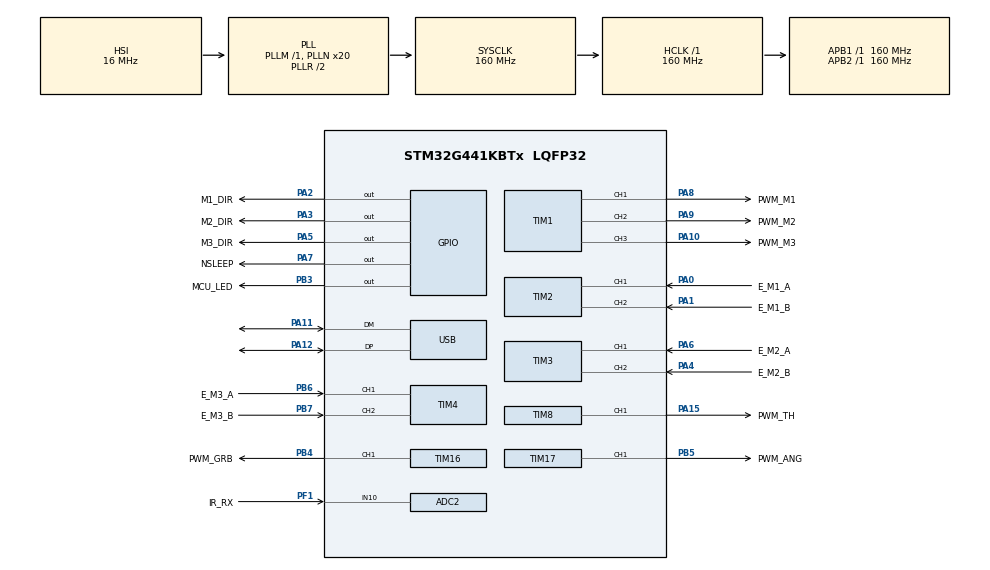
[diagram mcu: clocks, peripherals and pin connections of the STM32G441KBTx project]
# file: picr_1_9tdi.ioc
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ADC2.Channel-0\#ChannelRegularConversion=ADC_CHANNEL_10
ADC2.NbrOfConversionFlag=1
ADC2.OffsetNumber-0\#ChannelRegularConversion=ADC_OFFSET_NONE
ADC2.Rank-0\#ChannelRegularConversion=1
ADC2.SamplingTime-0\#ChannelRegularConversion=ADC_SAMPLETIME_2CYCLES_5
Mcu.Family=STM32G4
Mcu.Name=STM32G441KBTx
Mcu.Package=LQFP32
NVIC.PriorityGroup=NVIC_PRIORITYGROUP_4
NVIC.TIM6_DAC_IRQn=true\:0\:0\:false\:false\:true\:true\:true\:true
NVIC.USB_LP_IRQn=true\:0\:0\:false\:false\:true\:false\:true\:true
PA0.GPIO_Label=E_M1_A
PA0.Signal=S_TIM2_CH1
PA1.GPIO_Label=E_M1_B
PA1.Signal=S_TIM2_CH2
PA10.GPIO_Label=PWM_M3
PA10.Signal=S_TIM1_CH3
PA11.Mode=Device
PA11.Signal=USB_DM
PA12.Mode=Device
PA12.Signal=USB_DP
PA13.Mode=Serial_Wire
PA13.Signal=SYS_JTMS-SWDIO
PA14.Mode=Serial_Wire
PA14.Signal=SYS_JTCK-SWCLK
PA15.GPIO_Label=PWM_TH
PA15.Signal=S_TIM8_CH1
PA2.GPIO_Label=M1_DIR
PA2.Signal=GPIO_Output
PA3.GPIO_Label=M2_DIR
PA3.Signal=GPIO_Output
PA4.GPIO_Label=E_M2_B
PA4.Signal=S_TIM3_CH2
PA5.GPIO_Label=M3_DIR
PA5.Signal=GPIO_Output
PA6.GPIO_Label=E_M2_A
PA6.Signal=S_TIM3_CH1
PA7.GPIO_Label=NSLEEP
PA7.Signal=GPIO_Output
PA8.GPIO_Label=PWM_M1
PA8.Signal=S_TIM1_CH1
PA9.GPIO_Label=PWM_M2
PA9.Signal=S_TIM1_CH2
PB3.GPIO_Label=MCU_LED
PB3.Signal=GPIO_Output
PB4.GPIO_Label=PWM_GRB
PB4.Signal=S_TIM16_CH1
PB5.GPIO_Label=PWM_ANG
PB5.Signal=S_TIM17_CH1
PB6.GPIO_Label=E_M3_A
PB6.Signal=S_TIM4_CH1
PB7.GPIO_Label=E_M3_B
PB7.Signal=S_TIM4_CH2
PF1-OSC_OUT.GPIO_Label=IR_RX
PF1-OSC_OUT.Mode=IN10-Single-Ended
PF1-OSC_OUT.Signal=ADC2_IN10
ProjectManager.HeapSize=0x200
ProjectManager.StackSize=0x400
ProjectManager.TargetToolchain=STM32CubeIDE
RCC.ADC12Freq_Value=160000000
RCC.AHBFreq_Value=160000000
RCC.APB1Freq_Value=160000000
RCC.APB1TimFreq_Value=160000000
RCC.APB2Freq_Value=160000000
RCC.APB2TimFreq_Value=160000000
RCC.CK48CLockSelection=RCC_USBCLKSOURCE_HSI48
RCC.CortexFreq_Value=160000000
RCC.EXTERNAL_CLOCK_VALUE=12288000
RCC.HCLKFreq_Value=160000000
RCC.HSE_VALUE=8000000
RCC.HSI48_VALUE=48000000
RCC.HSI_VALUE=16000000
RCC.LSE_VALUE=32768
RCC.PLLN=20
RCC.PLLQ=RCC_PLLQ_DIV4
RCC.SYSCLKFreq_VALUE=160000000
RCC.SYSCLKSource=RCC_SYSCLKSOURCE_PLLCLK
RCC.USBFreq_Value=48000000
RCC.VCOOutputFreq_Value=320000000
SH.S_TIM16_CH1.0=TIM16_CH1,PWM Generation1 CH1
SH.S_TIM17_CH1.0=TIM17_CH1,PWM Generation1 CH1
SH.S_TIM1_CH1.0=TIM1_CH1,PWM Generation1 CH1
SH.S_TIM1_CH2.0=TIM1_CH2,PWM Generation2 CH2
SH.S_TIM1_CH3.0=TIM1_CH3,PWM Generation3 CH3
SH.S_TIM2_CH1.0=TIM2_CH1,Encoder_Interface
SH.S_TIM2_CH2.0=TIM2_CH2,Encoder_Interface
SH.S_TIM3_CH1.0=TIM3_CH1,Encoder_Interface
SH.S_TIM3_CH2.0=TIM3_CH2,Encoder_Interface
SH.S_TIM4_CH1.0=TIM4_CH1,Encoder_Interface
SH.S_TIM4_CH2.0=TIM4_CH2,Encoder_Interface
SH.S_TIM8_CH1.0=TIM8_CH1,PWM Generation1 CH1
TIM1.Channel-PWM\ Generation1\ CH1=TIM_CHANNEL_1
TIM1.Channel-PWM\ Generation2\ CH2=TIM_CHANNEL_2
TIM1.Channel-PWM\ Generation3\ CH3=TIM_CHANNEL_3
TIM16.Channel=TIM_CHANNEL_1
TIM16.PeriodNoDither=65305
TIM16.Prescaler=48
TIM17.Channel=TIM_CHANNEL_1
TIM17.PeriodNoDither=65305
TIM17.Prescaler=48
TIM2.EncoderMode=TIM_ENCODERMODE_TI12
TIM3.EncoderMode=TIM_ENCODERMODE_TI12
TIM4.EncoderMode=TIM_ENCODERMODE_TI12
TIM6.PeriodNoDither=63999
TIM6.Prescaler=24
TIM8.Channel-PWM\ Generation1\ CH1=TIM_CHANNEL_1
TIM8.PeriodNoDither=65305
TIM8.Prescaler=48
USB_DEVICE.CLASS_NAME_FS=CDC
USB_DEVICE.VirtualMode=Cdc
USB_DEVICE.VirtualModeFS=Cdc_FS
VP_SYS_VS_DBSignals.Mode=DisableDeadBatterySignals
VP_TIM16_VS_ClockSourceINT.Mode=Enable_Timer
VP_TIM17_VS_ClockSourceINT.Mode=Enable_Timer
VP_TIM6_VS_ClockSourceINT.Mode=Enable_Timer
VP_USB_DEVICE_VS_USB_DEVICE_CDC_FS.Mode=CDC_FS
board=custom

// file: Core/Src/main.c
/* USER CODE BEGIN Header */
/**
  ******************************************************************************
  * @file           : main.c
  * @brief          : Main program body
  ******************************************************************************
  * @attention
  *
  * Copyright (c) 2025 STMicroelectronics.
  * All rights reserved.
  *
  * This software is licensed under terms that can be found in the LICENSE file
  * in the root directory of this software component.
  * If no LICENSE file comes with this software, it is provided AS-IS.
  *
  ******************************************************************************
  */
/* USER CODE END Header */
#include "main.h"
#include "usb_device.h"

/* USER CODE BEGIN Includes */
#include "usbd_cdc_if.h"
/* USER CODE END Includes */

ADC_HandleTypeDef hadc2;

TIM_HandleTypeDef htim1;
TIM_HandleTypeDef htim2;
TIM_HandleTypeDef htim3;
TIM_HandleTypeDef htim4;
TIM_HandleTypeDef htim6;
TIM_HandleTypeDef htim8;
TIM_HandleTypeDef htim16;
TIM_HandleTypeDef htim17;

void SystemClock_Config(void);
static void MX_GPIO_Init(void);
static void MX_ADC2_Init(void);
static void MX_TIM1_Init(void);
static void MX_TIM2_Init(void);
static void MX_TIM3_Init(void);
static void MX_TIM4_Init(void);
static void MX_TIM6_Init(void);
static void MX_TIM8_Init(void);
static void MX_TIM16_Init(void);
static void MX_TIM17_Init(void);

/* USER CODE BEGIN 0 */
typedef struct Command{
  int16_t speed1;
  int16_t speed2;
  int16_t speed3;
  uint16_t throwerSpeed;
  uint16_t delimiter;
} Command;

Command command = {
    .speed1 = 0,
    .speed2 = 0,
    .speed3 = 0,
    .throwerSpeed = 0,
    .delimiter = 0
};
typedef struct Feedback {
  int16_t speed1;
  int16_t speed2;
  int16_t speed3;
  uint16_t delimiter;
} Feedback;

Feedback feedback = { .speed1 = 0, .speed2 = 0, .speed3 = 0, .delimiter = 0xAAAA};

typedef struct MotorControl {
	int32_t dCount;
	uint32_t prevCount;
	uint32_t currentCount;
	int32_t integral;
} MotorControl;

MotorControl motor1 = {.dCount = 0, .prevCount = 0, .currentCount=0,.integral=0};
MotorControl motor2 = {.dCount = 0, .prevCount = 0, .currentCount=0,.integral=0};
MotorControl motor3 = {.dCount = 0, .prevCount = 0, .currentCount=0,.integral=0};

volatile uint8_t isCommandReceived = 0;

void CDC_On_Receive(uint8_t* buffer, uint32_t* length) {
  if (*length == sizeof(Command)) {
    memcpy(&command, buffer, sizeof(Command));

    if (command.delimiter == 0xAAAA) {
      isCommandReceived = 1;
    }
  }
}
static inline void DWT_Init(void)
{
    CoreDebug->DEMCR |= CoreDebug_DEMCR_TRCENA_Msk;
    DWT->CYCCNT = 0;
    DWT->CTRL |= DWT_CTRL_CYCCNTENA_Msk;
}

static inline void delay_us(uint32_t us)
{
    uint32_t start = DWT->CYCCNT;
    uint32_t cycles = us * 160;
    while ((DWT->CYCCNT - start) < cycles);
}

uint16_t mapThrower(uint16_t inputValue) {

	if (inputValue <= 48)  inputValue = 48;
	if (inputValue >= 2047) inputValue = 2047;

	return(uint16_t)(((uint32_t)(inputValue - 48) * 65305U) / (2047U - 48U));

}
void enable_drivers() {
		HAL_GPIO_WritePin(NSLEEP_GPIO_Port, NSLEEP_Pin, GPIO_PIN_RESET);
	    delay_us(15);
	    HAL_GPIO_WritePin(NSLEEP_GPIO_Port, NSLEEP_Pin, GPIO_PIN_SET);
	    HAL_Delay(5);
}
int32_t clamp(int32_t value, int32_t min_value, int32_t max_value) {
	if (value > max_value) return max_value;
	if (value < min_value) return min_value;
	return value;
}

void rapidBlink() {
    for (uint8_t i = 0; i < 11; i++) {
        HAL_GPIO_TogglePin(MCU_LED_GPIO_Port, MCU_LED_Pin);
        HAL_Delay(100);
    }
}

int32_t setMotor(MotorControl* motorControl, int16_t commandCount) {
	static float kp = 450.0f;
	static float ki = 50.0f;

	motorControl->dCount = motorControl->currentCount - motorControl->prevCount;
	motorControl->prevCount = motorControl->currentCount;

	int32_t error = (int32_t)commandCount - (int32_t)motorControl->dCount;

	float prop = kp*(float)error;
	motorControl->integral += (float)error;

	float output = prop + ((float)motorControl->integral*ki);

	output = clamp((int32_t)output,-7999,7999);

	return (int32_t)output;

}

void runMotor(int32_t pwm, volatile uint32_t *ccr, GPIO_TypeDef *dirPort,
	 uint16_t dirPin) {

	if (pwm >= 0) {
		*ccr = pwm;
		HAL_GPIO_WritePin(dirPort, dirPin, GPIO_PIN_SET);
	} else {
		*ccr = -pwm;
		HAL_GPIO_WritePin(dirPort, dirPin, GPIO_PIN_RESET);
	}
}
void HAL_TIM_PeriodElapsedCallback(TIM_HandleTypeDef *htim) {

	if (htim == &htim6) {

		motor1.currentCount = (int16_t)TIM2->CNT;
		motor2.currentCount = (int16_t)TIM3->CNT;
		motor3.currentCount = (int16_t)TIM4->CNT;

	    runMotor(setMotor(&motor1, command.speed1),&TIM1->CCR1,M1_DIR_GPIO_Port,M1_DIR_Pin);
	    runMotor(setMotor(&motor2, command.speed2),&TIM1->CCR2,M2_DIR_GPIO_Port,M2_DIR_Pin);
	    runMotor(setMotor(&motor3, command.speed3),&TIM1->CCR3,M3_DIR_GPIO_Port,M3_DIR_Pin);

	}
}

/* USER CODE END 0 */

int main(void)
{

  /* MCU Configuration--------------------------------------------------------*/

  /* Reset of all peripherals, Initializes the Flash interface and the Systick. */
  HAL_Init();

  /* Configure the system clock */
  SystemClock_Config();

  /* Initialize all configured peripherals */
  MX_GPIO_Init();
  MX_USB_Device_Init();
  MX_ADC2_Init();
  MX_TIM1_Init();
  MX_TIM2_Init();
  MX_TIM3_Init();
  MX_TIM4_Init();
  MX_TIM6_Init();
  MX_TIM8_Init();
  MX_TIM16_Init();
  MX_TIM17_Init();
  /* USER CODE BEGIN 2 */
  DWT_Init();

  HAL_GPIO_WritePin(NSLEEP_GPIO_Port, NSLEEP_Pin, GPIO_PIN_SET);
  HAL_Delay(100);

  HAL_TIM_Encoder_Start(&htim2, TIM_CHANNEL_1 | TIM_CHANNEL_2);
  HAL_TIM_Encoder_Start(&htim3, TIM_CHANNEL_1 | TIM_CHANNEL_2);
  HAL_TIM_Encoder_Start(&htim4, TIM_CHANNEL_1 | TIM_CHANNEL_2);

  HAL_TIM_Base_Start_IT(&htim6);

  enable_drivers();

  HAL_TIM_PWM_Start(&htim16, TIM_CHANNEL_1);
  HAL_TIM_PWM_Start(&htim1, TIM_CHANNEL_1);
  HAL_TIM_PWM_Start(&htim1, TIM_CHANNEL_2);
  HAL_TIM_PWM_Start(&htim1, TIM_CHANNEL_3);
  HAL_TIM_PWM_Start(&htim8, TIM_CHANNEL_1);

  TIM8->CCR1 = 3000; // Allows ESC to initiate

  rapidBlink();

  /* USER CODE END 2 */

  /* Infinite loop */
  while (1)
  {

	if (isCommandReceived) {
		isCommandReceived = 0;
		HAL_GPIO_TogglePin(MCU_LED_GPIO_Port, MCU_LED_Pin);
		feedback.speed1 = motor1.dCount;
		feedback.speed2 = motor2.dCount;
		feedback.speed3 = motor3.dCount;
		TIM8->CCR1 = mapThrower(command.throwerSpeed);
		CDC_Transmit_FS((uint8_t *)&feedback, sizeof(feedback));

	  }
  }
}

void SystemClock_Config(void)
{
  RCC_OscInitTypeDef RCC_OscInitStruct = {0};
  RCC_ClkInitTypeDef RCC_ClkInitStruct = {0};

  /** Configure the main internal regulator output voltage
  */
  HAL_PWREx_ControlVoltageScaling(PWR_REGULATOR_VOLTAGE_SCALE1_BOOST);

  /** Initializes the RCC Oscillators according to the specified parameters
  * in the RCC_OscInitTypeDef structure.
  */
  RCC_OscInitStruct.OscillatorType = RCC_OSCILLATORTYPE_HSI|RCC_OSCILLATORTYPE_HSI48;
  RCC_OscInitStruct.HSIState = RCC_HSI_ON;
  RCC_OscInitStruct.HSICalibrationValue = RCC_HSICALIBRATION_DEFAULT;
  RCC_OscInitStruct.HSI48State = RCC_HSI48_ON;
  RCC_OscInitStruct.PLL.PLLState = RCC_PLL_ON;
  RCC_OscInitStruct.PLL.PLLSource = RCC_PLLSOURCE_HSI;
  RCC_OscInitStruct.PLL.PLLM = RCC_PLLM_DIV1;
  RCC_OscInitStruct.PLL.PLLN = 20;
  RCC_OscInitStruct.PLL.PLLP = RCC_PLLP_DIV2;
  RCC_OscInitStruct.PLL.PLLQ = RCC_PLLQ_DIV4;
  RCC_OscInitStruct.PLL.PLLR = RCC_PLLR_DIV2;
  if (HAL_RCC_OscConfig(&RCC_OscInitStruct) != HAL_OK)
  {
    Error_Handler();
  }

  /** Initializes the CPU, AHB and APB buses clocks
  */
  RCC_ClkInitStruct.ClockType = RCC_CLOCKTYPE_HCLK|RCC_CLOCKTYPE_SYSCLK
                              |RCC_CLOCKTYPE_PCLK1|RCC_CLOCKTYPE_PCLK2;
  RCC_ClkInitStruct.SYSCLKSource = RCC_SYSCLKSOURCE_PLLCLK;
  RCC_ClkInitStruct.AHBCLKDivider = RCC_SYSCLK_DIV1;
  RCC_ClkInitStruct.APB1CLKDivider = RCC_HCLK_DIV1;
  RCC_ClkInitStruct.APB2CLKDivider = RCC_HCLK_DIV1;

  if (HAL_RCC_ClockConfig(&RCC_ClkInitStruct, FLASH_LATENCY_4) != HAL_OK)
  {
    Error_Handler();
  }
}

static void MX_ADC2_Init(void)
{

  ADC_ChannelConfTypeDef sConfig = {0};

  /** Common config
  */
  hadc2.Instance = ADC2;
  hadc2.Init.ClockPrescaler = ADC_CLOCK_SYNC_PCLK_DIV4;
  hadc2.Init.Resolution = ADC_RESOLUTION_12B;
  hadc2.Init.DataAlign = ADC_DATAALIGN_RIGHT;
  hadc2.Init.GainCompensation = 0;
  hadc2.Init.ScanConvMode = ADC_SCAN_DISABLE;
  hadc2.Init.EOCSelection = ADC_EOC_SINGLE_CONV;
  hadc2.Init.LowPowerAutoWait = DISABLE;
  hadc2.Init.ContinuousConvMode = DISABLE;
  hadc2.Init.NbrOfConversion = 1;
  hadc2.Init.DiscontinuousConvMode = DISABLE;
  hadc2.Init.ExternalTrigConv = ADC_SOFTWARE_START;
  hadc2.Init.ExternalTrigConvEdge = ADC_EXTERNALTRIGCONVEDGE_NONE;
  hadc2.Init.DMAContinuousRequests = DISABLE;
  hadc2.Init.Overrun = ADC_OVR_DATA_PRESERVED;
  hadc2.Init.OversamplingMode = DISABLE;
  if (HAL_ADC_Init(&hadc2) != HAL_OK)
  {
    Error_Handler();
  }

  /** Configure Regular Channel
  */
  sConfig.Channel = ADC_CHANNEL_10;
  sConfig.Rank = ADC_REGULAR_RANK_1;
  sConfig.SamplingTime = ADC_SAMPLETIME_2CYCLES_5;
  sConfig.SingleDiff = ADC_SINGLE_ENDED;
  sConfig.OffsetNumber = ADC_OFFSET_NONE;
  sConfig.Offset = 0;
  if (HAL_ADC_ConfigChannel(&hadc2, &sConfig) != HAL_OK)
  {
    Error_Handler();
  }

}

static void MX_TIM1_Init(void)
{

  TIM_MasterConfigTypeDef sMasterConfig = {0};
  TIM_OC_InitTypeDef sConfigOC = {0};
  TIM_BreakDeadTimeConfigTypeDef sBreakDeadTimeConfig = {0};

  htim1.Instance = TIM1;
  htim1.Init.Prescaler = 0;
  htim1.Init.CounterMode = TIM_COUNTERMODE_UP;
  htim1.Init.Period = 7999;//7679;
  htim1.Init.ClockDivision = TIM_CLOCKDIVISION_DIV1;
  htim1.Init.RepetitionCounter = 0;
  htim1.Init.AutoReloadPreload = TIM_AUTORELOAD_PRELOAD_DISABLE;
  if (HAL_TIM_PWM_Init(&htim1) != HAL_OK)
  {
    Error_Handler();
  }
  sMasterConfig.MasterOutputTrigger = TIM_TRGO_RESET;
  sMasterConfig.MasterOutputTrigger2 = TIM_TRGO2_RESET;
  sMasterConfig.MasterSlaveMode = TIM_MASTERSLAVEMODE_DISABLE;
  if (HAL_TIMEx_MasterConfigSynchronization(&htim1, &sMasterConfig) != HAL_OK)
  {
    Error_Handler();
  }
  sConfigOC.OCMode = TIM_OCMODE_PWM1;
  sConfigOC.Pulse = 0;
  sConfigOC.OCPolarity = TIM_OCPOLARITY_HIGH;
  sConfigOC.OCNPolarity = TIM_OCNPOLARITY_HIGH;
  sConfigOC.OCFastMode = TIM_OCFAST_DISABLE;
  sConfigOC.OCIdleState = TIM_OCIDLESTATE_RESET;
  sConfigOC.OCNIdleState = TIM_OCNIDLESTATE_RESET;
  if (HAL_TIM_PWM_ConfigChannel(&htim1, &sConfigOC, TIM_CHANNEL_1) != HAL_OK)
  {
    Error_Handler();
  }
  if (HAL_TIM_PWM_ConfigChannel(&htim1, &sConfigOC, TIM_CHANNEL_2) != HAL_OK)
  {
    Error_Handler();
  }
  if (HAL_TIM_PWM_ConfigChannel(&htim1, &sConfigOC, TIM_CHANNEL_3) != HAL_OK)
  {
    Error_Handler();
  }
  sBreakDeadTimeConfig.OffStateRunMode = TIM_OSSR_DISABLE;
  sBreakDeadTimeConfig.OffStateIDLEMode = TIM_OSSI_DISABLE;
  sBreakDeadTimeConfig.LockLevel = TIM_LOCKLEVEL_OFF;
  sBreakDeadTimeConfig.DeadTime = 0;
  sBreakDeadTimeConfig.BreakState = TIM_BREAK_DISABLE;
  sBreakDeadTimeConfig.BreakPolarity = TIM_BREAKPOLARITY_HIGH;
  sBreakDeadTimeConfig.BreakFilter = 0;
  sBreakDeadTimeConfig.BreakAFMode = TIM_BREAK_AFMODE_INPUT;
  sBreakDeadTimeConfig.Break2State = TIM_BREAK2_DISABLE;
  sBreakDeadTimeConfig.Break2Polarity = TIM_BREAK2POLARITY_HIGH;
  sBreakDeadTimeConfig.Break2Filter = 0;
  sBreakDeadTimeConfig.Break2AFMode = TIM_BREAK_AFMODE_INPUT;
  sBreakDeadTimeConfig.AutomaticOutput = TIM_AUTOMATICOUTPUT_DISABLE;
  if (HAL_TIMEx_ConfigBreakDeadTime(&htim1, &sBreakDeadTimeConfig) != HAL_OK)
  {
    Error_Handler();
  }
  HAL_TIM_MspPostInit(&htim1);

}

static void MX_TIM2_Init(void)
{

  TIM_Encoder_InitTypeDef sConfig = {0};
  TIM_MasterConfigTypeDef sMasterConfig = {0};

  htim2.Instance = TIM2;
  htim2.Init.Prescaler = 0;
  htim2.Init.CounterMode = TIM_COUNTERMODE_UP;
  htim2.Init.Period = 4294967295;
  htim2.Init.ClockDivision = TIM_CLOCKDIVISION_DIV1;
  htim2.Init.AutoReloadPreload = TIM_AUTORELOAD_PRELOAD_DISABLE;
  sConfig.EncoderMode = TIM_ENCODERMODE_TI12;
  sConfig.IC1Polarity = TIM_ICPOLARITY_RISING;
  sConfig.IC1Selection = TIM_ICSELECTION_DIRECTTI;
  sConfig.IC1Prescaler = TIM_ICPSC_DIV1;
  sConfig.IC1Filter = 0;
  sConfig.IC2Polarity = TIM_ICPOLARITY_RISING;
  sConfig.IC2Selection = TIM_ICSELECTION_DIRECTTI;
  sConfig.IC2Prescaler = TIM_ICPSC_DIV1;
  sConfig.IC2Filter = 0;
  if (HAL_TIM_Encoder_Init(&htim2, &sConfig) != HAL_OK)
  {
    Error_Handler();
  }
  sMasterConfig.MasterOutputTrigger = TIM_TRGO_RESET;
  sMasterConfig.MasterSlaveMode = TIM_MASTERSLAVEMODE_DISABLE;
  if (HAL_TIMEx_MasterConfigSynchronization(&htim2, &sMasterConfig) != HAL_OK)
  {
    Error_Handler();
  }

}

static void MX_TIM3_Init(void)
{

  TIM_Encoder_InitTypeDef sConfig = {0};
  TIM_MasterConfigTypeDef sMasterConfig = {0};

  htim3.Instance = TIM3;
  htim3.Init.Prescaler = 0;
  htim3.Init.CounterMode = TIM_COUNTERMODE_UP;
  htim3.Init.Period = 65535;
  htim3.Init.ClockDivision = TIM_CLOCKDIVISION_DIV1;
  htim3.Init.AutoReloadPreload = TIM_AUTORELOAD_PRELOAD_DISABLE;
  sConfig.EncoderMode = TIM_ENCODERMODE_TI12;
  sConfig.IC1Polarity = TIM_ICPOLARITY_RISING;
  sConfig.IC1Selection = TIM_ICSELECTION_DIRECTTI;
  sConfig.IC1Prescaler = TIM_ICPSC_DIV1;
  sConfig.IC1Filter = 0;
  sConfig.IC2Polarity = TIM_ICPOLARITY_RISING;
  sConfig.IC2Selection = TIM_ICSELECTION_DIRECTTI;
  sConfig.IC2Prescaler = TIM_ICPSC_DIV1;
  sConfig.IC2Filter = 0;
  if (HAL_TIM_Encoder_Init(&htim3, &sConfig) != HAL_OK)
  {
    Error_Handler();
  }
  sMasterConfig.MasterOutputTrigger = TIM_TRGO_RESET;
  sMasterConfig.MasterSlaveMode = TIM_MASTERSLAVEMODE_DISABLE;
  if (HAL_TIMEx_MasterConfigSynchronization(&htim3, &sMasterConfig) != HAL_OK)
  {
    Error_Handler();
  }

}

static void MX_TIM4_Init(void)
{

  TIM_Encoder_InitTypeDef sConfig = {0};
  TIM_MasterConfigTypeDef sMasterConfig = {0};

  htim4.Instance = TIM4;
  htim4.Init.Prescaler = 0;
  htim4.Init.CounterMode = TIM_COUNTERMODE_UP;
  htim4.Init.Period = 65535;
  htim4.Init.ClockDivision = TIM_CLOCKDIVISION_DIV1;
  htim4.Init.AutoReloadPreload = TIM_AUTORELOAD_PRELOAD_DISABLE;
  sConfig.EncoderMode = TIM_ENCODERMODE_TI12;
  sConfig.IC1Polarity = TIM_ICPOLARITY_RISING;
  sConfig.IC1Selection = TIM_ICSELECTION_DIRECTTI;
  sConfig.IC1Prescaler = TIM_ICPSC_DIV1;
  sConfig.IC1Filter = 0;
  sConfig.IC2Polarity = TIM_ICPOLARITY_RISING;
  sConfig.IC2Selection = TIM_ICSELECTION_DIRECTTI;
  sConfig.IC2Prescaler = TIM_ICPSC_DIV1;
  sConfig.IC2Filter = 0;
  if (HAL_TIM_Encoder_Init(&htim4, &sConfig) != HAL_OK)
  {
    Error_Handler();
  }
  sMasterConfig.MasterOutputTrigger = TIM_TRGO_RESET;
  sMasterConfig.MasterSlaveMode = TIM_MASTERSLAVEMODE_DISABLE;
  if (HAL_TIMEx_MasterConfigSynchronization(&htim4, &sMasterConfig) != HAL_OK)
  {
    Error_Handler();
  }

}

static void MX_TIM6_Init(void)
{

  TIM_MasterConfigTypeDef sMasterConfig = {0};

  htim6.Instance = TIM6;
  htim6.Init.Prescaler = 24;
  htim6.Init.CounterMode = TIM_COUNTERMODE_UP;
  htim6.Init.Period = 63999;
  htim6.Init.AutoReloadPreload = TIM_AUTORELOAD_PRELOAD_DISABLE;
  if (HAL_TIM_Base_Init(&htim6) != HAL_OK)
  {
    Error_Handler();
  }
  sMasterConfig.MasterOutputTrigger = TIM_TRGO_RESET;
  sMasterConfig.MasterSlaveMode = TIM_MASTERSLAVEMODE_DISABLE;
  if (HAL_TIMEx_MasterConfigSynchronization(&htim6, &sMasterConfig) != HAL_OK)
  {
    Error_Handler();
  }

}

static void MX_TIM8_Init(void)
{

  TIM_MasterConfigTypeDef sMasterConfig = {0};
  TIM_OC_InitTypeDef sConfigOC = {0};
  TIM_BreakDeadTimeConfigTypeDef sBreakDeadTimeConfig = {0};

  htim8.Instance = TIM8; // Thrower
  htim8.Init.Prescaler = 48;
  htim8.Init.CounterMode = TIM_COUNTERMODE_UP;
  htim8.Init.Period = 65305;
  htim8.Init.ClockDivision = TIM_CLOCKDIVISION_DIV1;
  htim8.Init.RepetitionCounter = 0;
  htim8.Init.AutoReloadPreload = TIM_AUTORELOAD_PRELOAD_DISABLE;
  if (HAL_TIM_PWM_Init(&htim8) != HAL_OK)
  {
    Error_Handler();
  }
  sMasterConfig.MasterOutputTrigger = TIM_TRGO_RESET;
  sMasterConfig.MasterOutputTrigger2 = TIM_TRGO2_RESET;
  sMasterConfig.MasterSlaveMode = TIM_MASTERSLAVEMODE_DISABLE;
  if (HAL_TIMEx_MasterConfigSynchronization(&htim8, &sMasterConfig) != HAL_OK)
  {
    Error_Handler();
  }
  sConfigOC.OCMode = TIM_OCMODE_PWM1;
  sConfigOC.Pulse = 0;
  sConfigOC.OCPolarity = TIM_OCPOLARITY_HIGH;
  sConfigOC.OCNPolarity = TIM_OCNPOLARITY_HIGH;
  sConfigOC.OCFastMode = TIM_OCFAST_DISABLE;
  sConfigOC.OCIdleState = TIM_OCIDLESTATE_RESET;
  sConfigOC.OCNIdleState = TIM_OCNIDLESTATE_RESET;
  if (HAL_TIM_PWM_ConfigChannel(&htim8, &sConfigOC, TIM_CHANNEL_1) != HAL_OK)
  {
    Error_Handler();
  }
  sBreakDeadTimeConfig.OffStateRunMode = TIM_OSSR_DISABLE;
  sBreakDeadTimeConfig.OffStateIDLEMode = TIM_OSSI_DISABLE;
  sBreakDeadTimeConfig.LockLevel = TIM_LOCKLEVEL_OFF;
  sBreakDeadTimeConfig.DeadTime = 0;
  sBreakDeadTimeConfig.BreakState = TIM_BREAK_DISABLE;
  sBreakDeadTimeConfig.BreakPolarity = TIM_BREAKPOLARITY_HIGH;
  sBreakDeadTimeConfig.BreakFilter = 0;
  sBreakDeadTimeConfig.BreakAFMode = TIM_BREAK_AFMODE_INPUT;
  sBreakDeadTimeConfig.Break2State = TIM_BREAK2_DISABLE;
  sBreakDeadTimeConfig.Break2Polarity = TIM_BREAK2POLARITY_HIGH;
  sBreakDeadTimeConfig.Break2Filter = 0;
  sBreakDeadTimeConfig.Break2AFMode = TIM_BREAK_AFMODE_INPUT;
  sBreakDeadTimeConfig.AutomaticOutput = TIM_AUTOMATICOUTPUT_DISABLE;
  if (HAL_TIMEx_ConfigBreakDeadTime(&htim8, &sBreakDeadTimeConfig) != HAL_OK)
  {
    Error_Handler();
  }
  HAL_TIM_MspPostInit(&htim8);

}

static void MX_TIM16_Init(void)
{

  TIM_OC_InitTypeDef sConfigOC = {0};
  TIM_BreakDeadTimeConfigTypeDef sBreakDeadTimeConfig = {0};

  htim16.Instance = TIM16; // grabber
  htim16.Init.Prescaler = 48;
  htim16.Init.CounterMode = TIM_COUNTERMODE_UP;
  htim16.Init.Period = 65305;
  htim16.Init.ClockDivision = TIM_CLOCKDIVISION_DIV1;
  htim16.Init.RepetitionCounter = 0;
  htim16.Init.AutoReloadPreload = TIM_AUTORELOAD_PRELOAD_DISABLE;
  if (HAL_TIM_Base_Init(&htim16) != HAL_OK)
  {
    Error_Handler();
  }
  if (HAL_TIM_PWM_Init(&htim16) != HAL_OK)
  {
    Error_Handler();
  }
  sConfigOC.OCMode = TIM_OCMODE_PWM1;
  sConfigOC.Pulse = 0;
  sConfigOC.OCPolarity = TIM_OCPOLARITY_HIGH;
  sConfigOC.OCNPolarity = TIM_OCNPOLARITY_HIGH;
  sConfigOC.OCFastMode = TIM_OCFAST_DISABLE;
  sConfigOC.OCIdleState = TIM_OCIDLESTATE_RESET;
  sConfigOC.OCNIdleState = TIM_OCNIDLESTATE_RESET;
  if (HAL_TIM_PWM_ConfigChannel(&htim16, &sConfigOC, TIM_CHANNEL_1) != HAL_OK)
  {
    Error_Handler();
  }
  sBreakDeadTimeConfig.OffStateRunMode = TIM_OSSR_DISABLE;
  sBreakDeadTimeConfig.OffStateIDLEMode = TIM_OSSI_DISABLE;
  sBreakDeadTimeConfig.LockLevel = TIM_LOCKLEVEL_OFF;
  sBreakDeadTimeConfig.DeadTime = 0;
  sBreakDeadTimeConfig.BreakState = TIM_BREAK_DISABLE;
  sBreakDeadTimeConfig.BreakPolarity = TIM_BREAKPOLARITY_HIGH;
  sBreakDeadTimeConfig.BreakFilter = 0;
  sBreakDeadTimeConfig.AutomaticOutput = TIM_AUTOMATICOUTPUT_DISABLE;
  if (HAL_TIMEx_ConfigBreakDeadTime(&htim16, &sBreakDeadTimeConfig) != HAL_OK)
  {
    Error_Handler();
  }
  HAL_TIM_MspPostInit(&htim16);

}

static void MX_TIM17_Init(void)
{

  TIM_OC_InitTypeDef sConfigOC = {0};
  TIM_BreakDeadTimeConfigTypeDef sBreakDeadTimeConfig = {0};

  htim17.Instance = TIM17;
  htim17.Init.Prescaler = 48;
  htim17.Init.CounterMode = TIM_COUNTERMODE_UP;
  htim17.Init.Period = 65305;
  htim17.Init.ClockDivision = TIM_CLOCKDIVISION_DIV1;
  htim17.Init.RepetitionCounter = 0;
  htim17.Init.AutoReloadPreload = TIM_AUTORELOAD_PRELOAD_DISABLE;
  if (HAL_TIM_Base_Init(&htim17) != HAL_OK)
  {
    Error_Handler();
  }
  if (HAL_TIM_PWM_Init(&htim17) != HAL_OK)
  {
    Error_Handler();
  }
  sConfigOC.OCMode = TIM_OCMODE_PWM1;
  sConfigOC.Pulse = 0;
  sConfigOC.OCPolarity = TIM_OCPOLARITY_HIGH;
  sConfigOC.OCNPolarity = TIM_OCNPOLARITY_HIGH;
  sConfigOC.OCFastMode = TIM_OCFAST_DISABLE;
  sConfigOC.OCIdleState = TIM_OCIDLESTATE_RESET;
  sConfigOC.OCNIdleState = TIM_OCNIDLESTATE_RESET;
  if (HAL_TIM_PWM_ConfigChannel(&htim17, &sConfigOC, TIM_CHANNEL_1) != HAL_OK)
  {
    Error_Handler();
  }
  sBreakDeadTimeConfig.OffStateRunMode = TIM_OSSR_DISABLE;
  sBreakDeadTimeConfig.OffStateIDLEMode = TIM_OSSI_DISABLE;
  sBreakDeadTimeConfig.LockLevel = TIM_LOCKLEVEL_OFF;
  sBreakDeadTimeConfig.DeadTime = 0;
  sBreakDeadTimeConfig.BreakState = TIM_BREAK_DISABLE;
  sBreakDeadTimeConfig.BreakPolarity = TIM_BREAKPOLARITY_HIGH;
  sBreakDeadTimeConfig.BreakFilter = 0;
  sBreakDeadTimeConfig.AutomaticOutput = TIM_AUTOMATICOUTPUT_DISABLE;
  if (HAL_TIMEx_ConfigBreakDeadTime(&htim17, &sBreakDeadTimeConfig) != HAL_OK)
  {
    Error_Handler();
  }
  HAL_TIM_MspPostInit(&htim17);

}

static void MX_GPIO_Init(void)
{
  GPIO_InitTypeDef GPIO_InitStruct = {0};

  /* GPIO Ports Clock Enable */
  __HAL_RCC_GPIOF_CLK_ENABLE();
  __HAL_RCC_GPIOA_CLK_ENABLE();
  __HAL_RCC_GPIOB_CLK_ENABLE();

  /*Configure GPIO pin Output Level */
  HAL_GPIO_WritePin(GPIOA, M1_DIR_Pin|M2_DIR_Pin|M3_DIR_Pin|NSLEEP_Pin, GPIO_PIN_RESET);

  /*Configure GPIO pin Output Level */
  HAL_GPIO_WritePin(MCU_LED_GPIO_Port, MCU_LED_Pin, GPIO_PIN_RESET);

  /*Configure GPIO pins : M1_DIR_Pin M2_DIR_Pin M3_DIR_Pin NSLEEP_Pin */
  GPIO_InitStruct.Pin = M1_DIR_Pin|M2_DIR_Pin|M3_DIR_Pin|NSLEEP_Pin;
  GPIO_InitStruct.Mode = GPIO_MODE_OUTPUT_PP;
  GPIO_InitStruct.Pull = GPIO_NOPULL;
  GPIO_InitStruct.Speed = GPIO_SPEED_FREQ_LOW;
  HAL_GPIO_Init(GPIOA, &GPIO_InitStruct);

  /*Configure GPIO pin : MCU_LED_Pin */
  GPIO_InitStruct.Pin = MCU_LED_Pin;
  GPIO_InitStruct.Mode = GPIO_MODE_OUTPUT_PP;
  GPIO_InitStruct.Pull = GPIO_NOPULL;
  GPIO_InitStruct.Speed = GPIO_SPEED_FREQ_LOW;
  HAL_GPIO_Init(MCU_LED_GPIO_Port, &GPIO_InitStruct);

}

void Error_Handler(void)
{
  __disable_irq();
  while (1)
  {
  }
}
